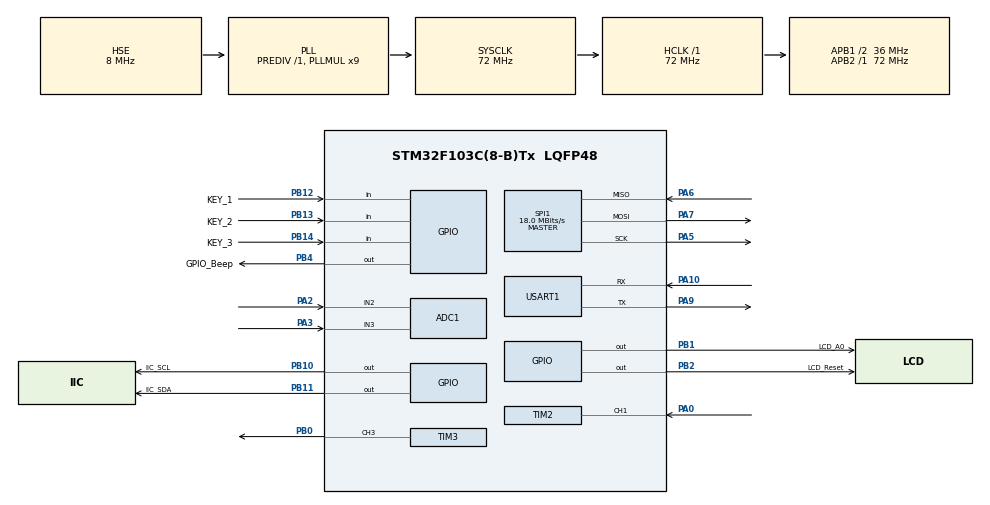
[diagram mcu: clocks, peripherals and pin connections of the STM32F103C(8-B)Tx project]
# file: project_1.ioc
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ADC1.Channel-2\#ChannelRegularConversion=ADC_CHANNEL_2
ADC1.ContinuousConvMode=DISABLE
ADC1.NbrOfConversion=1
ADC1.NbrOfConversionFlag=1
ADC1.Rank-2\#ChannelRegularConversion=1
ADC1.SamplingTime-2\#ChannelRegularConversion=ADC_SAMPLETIME_1CYCLE_5
ADC1.master=1
Dma.ADC1.0.Direction=DMA_PERIPH_TO_MEMORY
Dma.ADC1.0.Instance=DMA1_Channel1
Dma.ADC1.0.MemDataAlignment=DMA_MDATAALIGN_HALFWORD
Dma.ADC1.0.MemInc=DMA_MINC_ENABLE
Dma.ADC1.0.Mode=DMA_CIRCULAR
Dma.ADC1.0.PeriphDataAlignment=DMA_PDATAALIGN_HALFWORD
Dma.ADC1.0.PeriphInc=DMA_PINC_DISABLE
Dma.ADC1.0.Priority=DMA_PRIORITY_LOW
Dma.Request0=ADC1
IWDG.Prescaler=IWDG_PRESCALER_64
IWDG.Reload=2048
Mcu.Family=STM32F1
Mcu.Name=STM32F103C(8-B)Tx
Mcu.Package=LQFP48
NVIC.ADC1_2_IRQn=true\:0\:0\:false\:false\:true\:true\:true\:true
NVIC.DMA1_Channel1_IRQn=true\:0\:0\:false\:false\:true\:false\:true\:true
NVIC.PriorityGroup=NVIC_PRIORITYGROUP_4
NVIC.SPI1_IRQn=true\:0\:0\:false\:false\:true\:true\:true\:true
NVIC.TIM2_IRQn=true\:0\:0\:false\:false\:true\:true\:true\:true
NVIC.TIM3_IRQn=true\:0\:0\:false\:false\:true\:true\:true\:true
NVIC.TIM4_IRQn=true\:0\:0\:false\:false\:true\:true\:true\:true
NVIC.USART1_IRQn=true\:0\:0\:false\:false\:true\:true\:true\:true
PA0-WKUP.Signal=S_TIM2_CH1_ETR
PA10.Mode=Asynchronous
PA10.Signal=USART1_RX
PA13.Mode=Serial_Wire
PA13.Signal=SYS_JTMS-SWDIO
PA14.Mode=Serial_Wire
PA14.Signal=SYS_JTCK-SWCLK
PA2.Signal=ADCx_IN2
PA3.Signal=ADCx_IN3
PA5.Mode=Full_Duplex_Master
PA5.Signal=SPI1_SCK
PA6.Mode=Full_Duplex_Master
PA6.Signal=SPI1_MISO
PA7.Mode=Full_Duplex_Master
PA7.Signal=SPI1_MOSI
PA9.Mode=Asynchronous
PA9.Signal=USART1_TX
PB0.Signal=S_TIM3_CH3
PB1.GPIO_Label=LCD_A0
PB1.Signal=GPIO_Output
PB10.GPIO_Label=IIC_SCL
PB10.GPIO_ModeDefaultOutputPP=GPIO_MODE_OUTPUT_OD
PB10.GPIO_PuPd=GPIO_NOPULL
PB10.Signal=GPIO_Output
PB11.GPIO_Label=IIC_SDA
PB11.GPIO_ModeDefaultOutputPP=GPIO_MODE_OUTPUT_OD
PB11.GPIO_PuPd=GPIO_NOPULL
PB11.Signal=GPIO_Output
PB12.GPIO_Label=KEY_1
PB12.GPIO_PuPd=GPIO_PULLUP
PB12.Signal=GPIO_Input
PB13.GPIO_Label=KEY_2
PB13.GPIO_PuPd=GPIO_PULLUP
PB13.Signal=GPIO_Input
PB14.GPIO_Label=KEY_3
PB14.GPIO_PuPd=GPIO_PULLUP
PB14.Signal=GPIO_Input
PB2.GPIO_Label=LCD_Reset
PB2.Signal=GPIO_Output
PB4.GPIO_Label=GPIO_Beep
PB4.Signal=GPIO_Output
PC14-OSC32_IN.Mode=LSE-External-Oscillator
PC14-OSC32_IN.Signal=RCC_OSC32_IN
PC15-OSC32_OUT.Mode=LSE-External-Oscillator
PC15-OSC32_OUT.Signal=RCC_OSC32_OUT
PD0-OSC_IN.Mode=HSE-External-Oscillator
PD0-OSC_IN.Signal=RCC_OSC_IN
PD1-OSC_OUT.Mode=HSE-External-Oscillator
PD1-OSC_OUT.Signal=RCC_OSC_OUT
ProjectManager.HeapSize=0x200
ProjectManager.StackSize=0x400
ProjectManager.TargetToolchain=MDK-ARM V5.32
RCC.ADCPresc=RCC_ADCPCLK2_DIV6
RCC.AHBFreq_Value=72000000
RCC.APB1CLKDivider=RCC_HCLK_DIV2
RCC.APB1Freq_Value=36000000
RCC.APB1TimFreq_Value=72000000
RCC.APB2Freq_Value=72000000
RCC.APB2TimFreq_Value=72000000
RCC.HCLKFreq_Value=72000000
RCC.PLLMUL=RCC_PLL_MUL9
RCC.PLLSourceVirtual=RCC_PLLSOURCE_HSE
RCC.SYSCLKFreq_VALUE=72000000
RCC.SYSCLKSource=RCC_SYSCLKSOURCE_PLLCLK
RCC.USBFreq_Value=72000000
SH.ADCx_IN2.0=ADC1_IN2,IN2
SH.ADCx_IN3.0=ADC1_IN3,IN3
SH.S_TIM2_CH1_ETR.0=TIM2_CH1,TriggerSource_TI1FP1
SH.S_TIM3_CH3.0=TIM3_CH3,PWM Generation3 CH3
SPI1.BaudRatePrescaler=SPI_BAUDRATEPRESCALER_4
SPI1.CalculateBaudRate=18.0 MBits/s
SPI1.Direction=SPI_DIRECTION_2LINES
SPI1.Mode=SPI_MODE_MASTER
SPI1.VirtualType=VM_MASTER
TIM2.TIM_MasterOutputTrigger=TIM_TRGO_UPDATE
TIM3.Channel-PWM\ Generation3\ CH3=TIM_CHANNEL_3
TIM3.Period=499
TIM3.Prescaler=719
TIM3.TIM_MasterOutputTrigger=TIM_TRGO_UPDATE
TIM4.Period=9999
TIM4.Prescaler=7199
TIM4.TIM_MasterOutputTrigger=TIM_TRGO_UPDATE
USART1.VirtualMode=VM_ASYNC
VP_IWDG_VS_IWDG.Mode=IWDG_Activate
VP_TIM2_VS_ControllerModeClock.Mode=Clock Mode
VP_TIM3_VS_ClockSourceINT.Mode=Internal
VP_TIM4_VS_ClockSourceINT.Mode=Internal
board=custom

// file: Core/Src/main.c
/* USER CODE BEGIN Header */
/**
  ******************************************************************************
  * @file           : main.c
  * @brief          : Main program body
  ******************************************************************************
  * @attention
  *
  * Copyright (c) 2025 STMicroelectronics.
  * All rights reserved.
  *
  * This software is licensed under terms that can be found in the LICENSE file
  * in the root directory of this software component.
  * If no LICENSE file comes with this software, it is provided AS-IS.
  *
  ******************************************************************************
  */
/* USER CODE END Header */
#include "main.h"
#include "adc.h"
#include "dma.h"
#include "iwdg.h"
#include "spi.h"
#include "tim.h"
#include "usart.h"
#include "gpio.h"

/* USER CODE BEGIN Includes */
#include "ST7567A.h"
#include "frequency_counter.h"
#include "interface_manager.h"
#include "sc_port.h"
#include "ui_main.h"
#include <math.h>
#include "string.h"
#include "stdio.h"
/* USER CODE END Includes */

/* USER CODE BEGIN PV */
// 外部变量声明
extern PowerResult_t g_power_result;
extern RFParams_t g_rf_params;

// ADC DMA缓冲区，存储两个通道的转换结果
uint16_t adc_dma_buffer[2];  // [0]=PA2正向功率, [1]=PA3反射功率
/* USER CODE END PV */

void SystemClock_Config(void);
/* USER CODE BEGIN PFP */
// 数据采集和处理函数声明
void ProcessPowerMeasurement(void);     // 处理功率测量
void ProcessRFParameters(void);         // 处理射频参数计算
/* USER CODE END PFP */

int main(void)
{

  /* MCU Configuration--------------------------------------------------------*/

  /* Reset of all peripherals, Initializes the Flash interface and the Systick. */
  HAL_Init();

  /* USER CODE BEGIN Init */
	HAL_Delay(400);//
  /* USER CODE END Init */

  /* Configure the system clock */
  SystemClock_Config();

  /* Initialize all configured peripherals */
  MX_GPIO_Init();
  MX_DMA_Init();
  MX_USART1_UART_Init();
  MX_ADC1_Init();
  MX_IWDG_Init();
  MX_SPI1_Init();
  MX_TIM2_Init();
  MX_TIM3_Init();
  MX_TIM4_Init();
  /* USER CODE BEGIN 2 */
  HAL_Delay(200);//
  HAL_IWDG_Refresh(&hiwdg);
  //HAL_TIM_Base_Start_IT(&htim2);          //使能中断外部时钟无需内部中断
  HAL_TIM_Base_Start_IT(&htim3);          //使能中断
  //HAL_TIM_Base_Start_IT(&htim4);          //使能中断
  // 初始化LCD（双次初始化，防止上电ESD干扰导致白屏）
  LCD_Init();
  HAL_Delay(100);
  LCD_Init();
  HAL_Delay(400);
  HAL_IWDG_Refresh(&hiwdg);
  LCD_Clear(BLACK);
  LCD_SetBacklight(250);  // 设置背光亮度为80%
  SC_Port_Init();

  // 执行系统启动序列
  System_BootSequence();
  sc_create_task(0, ui_main_task, 100);  /* 启动主界面，100ms 刷新 */
  // 启动完成后第一次喂狗
  HAL_IWDG_Refresh(&hiwdg);

  // ADC校准（STM32F1必需）
  HAL_ADCEx_Calibration_Start(&hadc1);

  /* USER CODE END 2 */

  /* Infinite loop */
  /* USER CODE BEGIN WHILE */
  while (1)
  {
    // 主循环开始时喂狗
    HAL_IWDG_Refresh(&hiwdg);

    // 处理功率测量
    ProcessPowerMeasurement();

    // 处理射频参数计算
    ProcessRFParameters();

    SC_Port_Tick();          /* 同步 ms 计数给 SCGUI 调度器 */
    sc_task_loop(NULL);      /* 驱动 SCGUI 任务（定时刷新 + 按键响应）*/
    //InterfaceManager_Process();  /* 旧界面管理器（暂停，由 SCGUI 接管）*/

    /* 按键注入：将 TIM3 扫描结果转发给 SCGUI 事件队列 */
    {
      KeyValue_t _k = InterfaceManager_GetKey();
      if (_k != KEY_NONE) {
        if      (_k == KEY_UP)   SC_Port_InjectKey(SC_KEY_UP);
        else if (_k == KEY_OK)   SC_Port_InjectKey(SC_KEY_OK);
        else if (_k == KEY_DOWN) SC_Port_InjectKey(SC_KEY_DOWN);
        if (g_interface_manager.buzzer_enabled) InterfaceManager_Beep(50);
      }
    }

    // 检查频率计新结果
    if (FreqCounter_IsNewResult()) {
      // 频率结果会在界面显示中自动获取
      FreqCounter_ClearNewResultFlag();
    }

    // 界面处理完成后喂狗
    HAL_IWDG_Refresh(&hiwdg);

    // 短暂延时
    //HAL_Delay(10);

    /* USER CODE END WHILE */

  }
}

void SystemClock_Config(void)
{
  RCC_OscInitTypeDef RCC_OscInitStruct = {0};
  RCC_ClkInitTypeDef RCC_ClkInitStruct = {0};
  RCC_PeriphCLKInitTypeDef PeriphClkInit = {0};

  /** Initializes the RCC Oscillators according to the specified parameters
  * in the RCC_OscInitTypeDef structure.
  */
  RCC_OscInitStruct.OscillatorType = RCC_OSCILLATORTYPE_LSI|RCC_OSCILLATORTYPE_HSE;
  RCC_OscInitStruct.HSEState = RCC_HSE_ON;
  RCC_OscInitStruct.HSEPredivValue = RCC_HSE_PREDIV_DIV1;
  RCC_OscInitStruct.HSIState = RCC_HSI_ON;
  RCC_OscInitStruct.LSIState = RCC_LSI_ON;
  RCC_OscInitStruct.PLL.PLLState = RCC_PLL_ON;
  RCC_OscInitStruct.PLL.PLLSource = RCC_PLLSOURCE_HSE;
  RCC_OscInitStruct.PLL.PLLMUL = RCC_PLL_MUL9;
  if (HAL_RCC_OscConfig(&RCC_OscInitStruct) != HAL_OK)
  {
    Error_Handler();
  }

  /** Initializes the CPU, AHB and APB buses clocks
  */
  RCC_ClkInitStruct.ClockType = RCC_CLOCKTYPE_HCLK|RCC_CLOCKTYPE_SYSCLK
                              |RCC_CLOCKTYPE_PCLK1|RCC_CLOCKTYPE_PCLK2;
  RCC_ClkInitStruct.SYSCLKSource = RCC_SYSCLKSOURCE_PLLCLK;
  RCC_ClkInitStruct.AHBCLKDivider = RCC_SYSCLK_DIV1;
  RCC_ClkInitStruct.APB1CLKDivider = RCC_HCLK_DIV2;
  RCC_ClkInitStruct.APB2CLKDivider = RCC_HCLK_DIV1;

  if (HAL_RCC_ClockConfig(&RCC_ClkInitStruct, FLASH_LATENCY_2) != HAL_OK)
  {
    Error_Handler();
  }
  PeriphClkInit.PeriphClockSelection = RCC_PERIPHCLK_ADC;
  PeriphClkInit.AdcClockSelection = RCC_ADCPCLK2_DIV6;
  if (HAL_RCCEx_PeriphCLKConfig(&PeriphClkInit) != HAL_OK)
  {
    Error_Handler();
  }
}

/* USER CODE BEGIN 4 */

/**
 * @brief 处理功率测量
 */
void ProcessPowerMeasurement(void)
{
    static uint32_t last_adc_time = 0;
    uint32_t current_time = HAL_GetTick();

    // 每100ms读取一次ADC (功率检测)
    if (current_time - last_adc_time >= 100) {
        last_adc_time = current_time;

        // ADC滑动平均滤波缓冲区
        static uint32_t forward_buffer[20] = {0};
        static uint32_t reflected_buffer[20] = {0};
        static uint8_t buffer_index = 0;

        // 配置并读取Channel 2 (PA2正向功率)
        ADC_ChannelConfTypeDef sConfig = {0};
        sConfig.Channel = ADC_CHANNEL_2;
        sConfig.Rank = ADC_REGULAR_RANK_1;
        sConfig.SamplingTime = ADC_SAMPLETIME_1CYCLE_5;
        HAL_ADC_ConfigChannel(&hadc1, &sConfig);

        HAL_ADC_Start(&hadc1);
        HAL_ADC_PollForConversion(&hadc1, 10);
        uint32_t new_forward = HAL_ADC_GetValue(&hadc1);
        HAL_ADC_Stop(&hadc1);

        // 配置并读取Channel 3 (PA3反射功率)
        sConfig.Channel = ADC_CHANNEL_3;
        HAL_ADC_ConfigChannel(&hadc1, &sConfig);

        HAL_ADC_Start(&hadc1);
        HAL_ADC_PollForConversion(&hadc1, 10);
        uint32_t new_reflected = HAL_ADC_GetValue(&hadc1);
        HAL_ADC_Stop(&hadc1);

        // 更新滑动平均缓冲区
        forward_buffer[buffer_index] = new_forward;
        reflected_buffer[buffer_index] = new_reflected;
        buffer_index = (buffer_index + 1) % 20;  // 循环索引

        // 计算滑动平均值
        uint32_t forward_sum = 0;
        uint32_t reflected_sum = 0;
        for (int i = 0; i < 20; i++) {
            forward_sum += forward_buffer[i];
            reflected_sum += reflected_buffer[i];
        }
        uint32_t adc_forward = forward_sum / 20;
        uint32_t adc_reflected = reflected_sum / 20;

        // 转换为电压值 (2.5V参考电压，12位ADC)
        float forward_voltage = (float)adc_forward * 2.5f / 4095.0f;
        float reflected_voltage = (float)adc_reflected * 2.5f / 4095.0f;

        // 使用标定系统计算功率
        float forward_power = Calibration_CalculatePower(forward_voltage, 1);   // 1=正向
        float reflected_power = Calibration_CalculatePower(reflected_voltage, 0); // 0=反射

        // 更新功率数据到界面管理器
        InterfaceManager_UpdatePower(forward_power, reflected_power);
    }
}

/**
 * @brief 处理射频参数计算
 */
void ProcessRFParameters(void)
{
    static uint32_t last_calc_time = 0;
    uint32_t current_time = HAL_GetTick();

    // 每200ms计算一次射频参数
    if (current_time - last_calc_time >= 200) {
        last_calc_time = current_time;

        // 计算射频参数
        if (g_power_result.is_valid && g_power_result.forward_power > 0.01f) {
            // 计算反射系数 Γ = √(Pr/Pi)
            float reflection_coeff = sqrtf(g_power_result.reflected_power / g_power_result.forward_power);

            // 限制反射系数范围 (理论上应该 ≤ 1.0，但允许接反的情况)
            if (reflection_coeff > 1.0f) reflection_coeff = 1.0f;

            // 计算驻波比 VSWR = (1 + |Γ|) / (1 - |Γ|)
            float vswr;
            if (reflection_coeff >= 0.99f) {
                // 接近开路状态，VSWR接近无穷大
                vswr = 999.9f;  // 显示为无穷大的近似值
            } else {
                vswr = (1.0f + reflection_coeff) / (1.0f - reflection_coeff);
                if (vswr < 1.0f) vswr = 1.0f;  // VSWR最小值为1
                if (vswr > 999.9f) vswr = 999.9f; // 限制最大显示值
            }

            // 计算传输效率 η = 1 - Pr/Pi
            float transmission_eff = (1.0f - g_power_result.reflected_power / g_power_result.forward_power) * 100.0f;
            if (transmission_eff < 0.0f) transmission_eff = 0.0f;
            if (transmission_eff > 100.0f) transmission_eff = 100.0f;

            // 更新射频参数到界面管理器
            InterfaceManager_UpdateRFParams(vswr, reflection_coeff, transmission_eff);
        }
    }
}

/**
 * @brief 重定向printf到UART1
 */
int fputc(int ch, FILE *f)
{
    HAL_UART_Transmit(&huart1, (uint8_t *)&ch, 1, 1000);
    return ch;
}

/* USER CODE END 4 */

void Error_Handler(void)
{
  __disable_irq();
  while (1)
  {
  }
}
